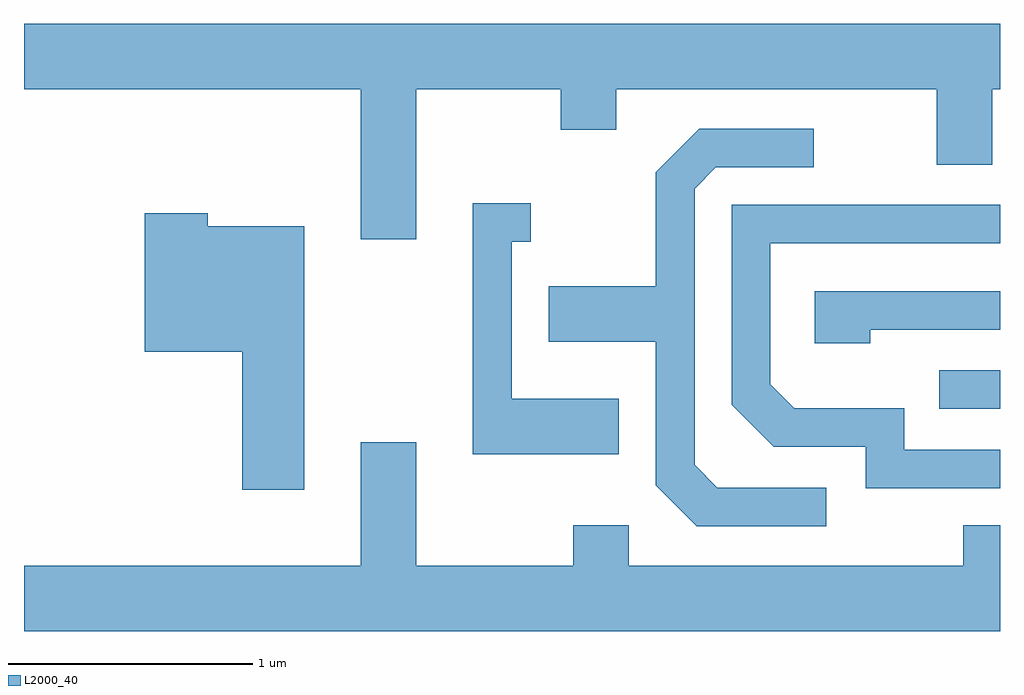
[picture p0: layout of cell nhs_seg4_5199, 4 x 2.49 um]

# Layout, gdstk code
import gdstk
lib = gdstk.Library(unit=1e-6, precision=1e-09)
def R(c, l, rs):  # rectangles x0, y0, x1, y1
    for r in rs: c.add(gdstk.rectangle(r[:2], r[2:], *l))
def P(c, l, *ps):  # polygons
    for p in ps: c.add(gdstk.Polygon(p, *l))
L2000_40 = (2000, 40)

nhs_seg4_5199 = lib.new_cell('nhs_seg4_5199')
R(nhs_seg4_5199, L2000_40, [(341.363,1317.846,341.611,1318.004)])
P(nhs_seg4_5199, L2000_40, [(339.219,1319.156),(339.811,1319.156),(339.811,1318.991),(340.039,1318.991),(340.039,1319.156),(341.351,1319.156),(341.351,1318.846),(341.579,1318.846),(341.579,1319.156),(341.611,1319.156),(341.611,1319.424),(337.611,1319.424),(337.611,1319.156),(338.991,1319.156),(338.991,1318.541),(339.219,1318.541)],
  [(340.898,1317.524),(340.452,1317.524),(340.359,1317.617),(340.359,1318.749),(340.447,1318.836),(340.848,1318.836),(340.848,1318.994),(340.379,1318.994),(340.201,1318.817),(340.201,1318.349),(339.761,1318.349),(339.761,1318.121),(340.201,1318.121),(340.201,1317.534),(340.369,1317.366),(340.898,1317.366)],
  [(340.049,1317.889),(339.609,1317.889),(339.609,1318.531),(339.688,1318.531),(339.688,1318.689),(339.451,1318.689),(339.451,1317.661),(340.049,1317.661)],
  [(341.611,1317.679),(341.219,1317.679),(341.219,1317.849),(340.767,1317.849),(340.669,1317.947),(340.669,1318.526),(341.611,1318.526),(341.611,1318.684),(340.511,1318.684),(340.511,1317.864),(340.684,1317.691),(341.061,1317.691),(341.061,1317.521),(341.611,1317.521)],
  [(338.759,1318.594),(338.364,1318.594),(338.364,1318.649),(338.106,1318.649),(338.106,1318.081),(338.506,1318.081),(338.506,1317.516),(338.759,1317.516)],
  [(341.079,1318.171),(341.611,1318.171),(341.611,1318.329),(340.851,1318.329),(340.851,1318.116),(341.079,1318.116)],
  [(341.611,1317.369),(341.461,1317.369),(341.461,1317.204),(340.089,1317.204),(340.089,1317.369),(339.861,1317.369),(339.861,1317.204),(339.219,1317.204),(339.219,1317.709),(338.991,1317.709),(338.991,1317.204),(337.611,1317.204),(337.611,1316.936),(341.611,1316.936)])

lib.write_gds('nhs_seg4_5199.gds')
